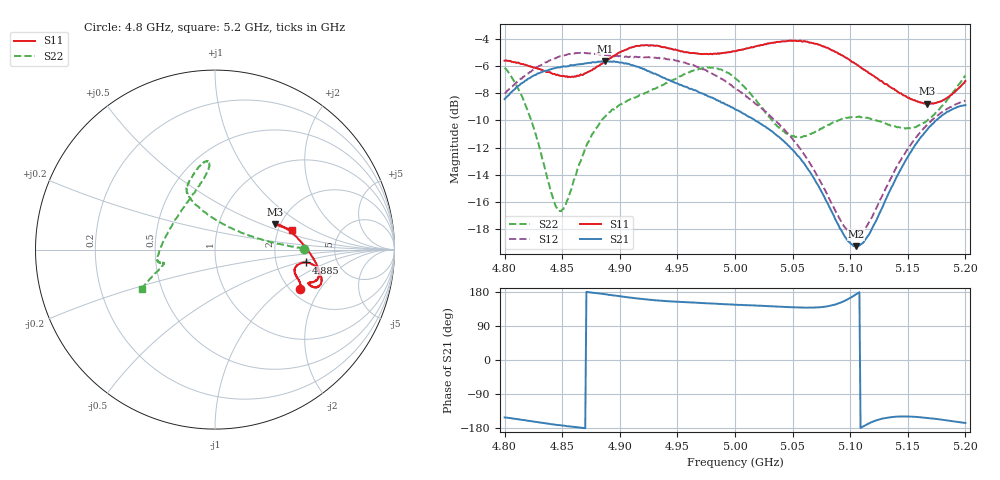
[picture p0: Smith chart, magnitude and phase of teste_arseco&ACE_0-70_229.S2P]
! Network Analyzer HP8722D
! Hewlett-Packard
! Data name: Linha & Wilkinson
! Saver's name: Rodrigo Anjos
! Comments: Teste da utilização de aquisição
! continua pelo VNA HP8722D
! Time and date: 8/5/2025 14:40
!  Frequency  S11  S21  S12  S22
# HZ  S  MA R 50
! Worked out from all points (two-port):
!   401 points, 4.8 GHz to 5.2 GHz, reference 50 ohm
!   highest |S21| = -5.63 dB at 4.887 GHz (marker M1); lowest = -19.2 dB at 5.105 GHz (marker M2)
!   |S21| within 3 dB of the highest: start of sweep to 4.987 GHz
!   lowest |S11| = -8.8 dB at 5.167 GHz (marker M3), VSWR 2.14, Z = 93.8 + j30.8 ohm
!   |S11| at or under -10 dB: nowhere
!   |S22| runs from -16.7 to -6.1 dB; largest |S21 - S12| = 1.1
!   S11 on the Smith chart (normalised r, x): 4.8 GHz: 2.24, -1.36; 4.885 GHz: 2.98, -0.58; 5.2 GHz: 2.36, +0.65
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4.8e9  0.5242 -24.9  0.3786 -151.6  0.3975 7.8  0.4939 0.6
4.811e9  0.5149 -22.2  0.4207 -156.1  0.4379 6.2  0.42 2.7
4.821e9  0.5007 -20.4  0.4509 -160.7  0.4722 4.6  0.3342 6.5
4.846e9  0.4659 -16.3  0.4942 -171.7  0.5396 0.6  0.15 53.5
4.853e9  0.4577 -14.7  0.4985 -174.1  0.5497 -0.6  0.1547 80.3
4.867e9  0.4643 -10.7  0.5095 -178.9  0.5579 -2.6  0.2309 108.2
4.885e9  0.5131 -8.0  0.5202 174.6  0.5518 -3.6  0.3198 115.5
4.887e9  0.5187 -8.2  0.523 173.7  0.5495 -3.5  0.3258 116.0
4.911e9  0.5876 -11.3  0.5045 164.0  0.5427 -2.9  0.3794 114.4
4.934e9  0.5927 -16.6  0.4624 156.7  0.5375 -3.8  0.4191 108.5
4.974e9  0.5545 -19.6  0.3924 149.8  0.4853 -7.4  0.4929 96.2
5e9  0.5676 -20.7  0.3476 145.8  0.417 -7.2  0.4528 94.5
5.042e9  0.6168 -18.8  0.2665 140.2  0.2953 0.6  0.2887 129.3
5.067e9  0.608 -14.0  0.1989 138.3  0.2138 8.6  0.2841 165.1
5.094e9  0.5453 -4.4  0.121 154.5  0.1304 34.2  0.322 -173.1
5.105e9  0.5099 0.8  0.1093 173.1  0.1199 55.5  0.3254 -169.6
5.116e9  0.472 6.5  0.1201 -167.8  0.1331 76.1  0.3226 -167.4
5.134e9  0.4213 15.4  0.1731 -151.4  0.1894 94.3  0.3051 -166.4
5.152e9  0.3801 21.5  0.2404 -149.3  0.2556 99.3  0.2959 -164.8
5.167e9  0.3641 23.0  0.2929 -152.8  0.3052 99.9  0.3162 -161.7
5.182e9  0.3786 20.8  0.3348 -158.5  0.3448 99.9  0.3664 -157.6
5.2e9  0.4412 14.6  0.3599 -166.2  0.3745 100.3  0.4622 -151.9
